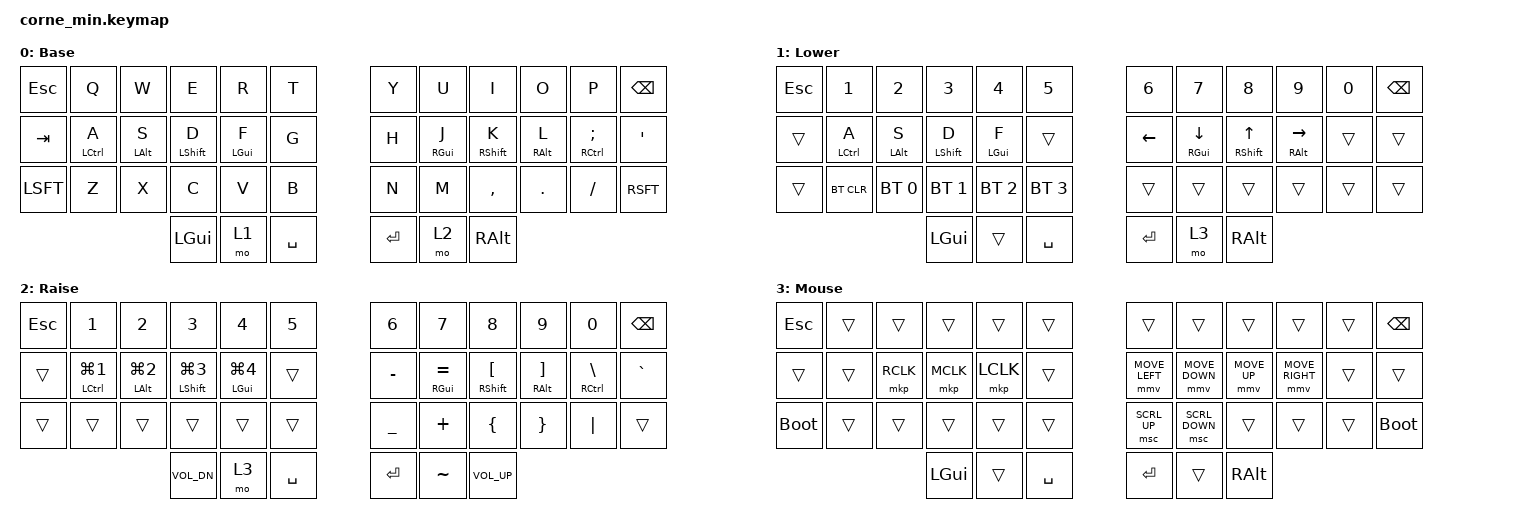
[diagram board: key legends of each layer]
/*
 * Corne Keymap for ZMK
 * 
 * Features:
 * - Homerow mods (Ctrl/Alt/Shift/GUI on ASDF JKL;)
 * - LOWER (left thumb): numbers, BT control, arrows
 * - RAISE (right thumb): numbers, symbols, volume
 */

#include <behaviors.dtsi>
#include <dt-bindings/zmk/keys.h>
#include <dt-bindings/zmk/bt.h>
#include <dt-bindings/zmk/pointing.h>

/ {
    behaviors {
        hm: homerow_mods {
            compatible = "zmk,behavior-hold-tap";
            #binding-cells = <2>;
            tapping-term-ms = <200>;
            quick-tap-ms = <150>;
            flavor = "tap-preferred";
            bindings = <&kp>, <&kp>;
        };
    };

    keymap {
        compatible = "zmk,keymap";

        /* BASE LAYER with Homerow Mods */
        layer0: base {
            display-name = "Base";
            bindings = <
                &kp ESC    &kp Q    &kp W    &kp E    &kp R    &kp T     &kp Y     &kp U     &kp I     &kp O     &kp P     &kp BSPC
                &kp TAB    &hm LCTRL A &hm LALT S &hm LSHFT D &hm LGUI F &kp G  &kp H  &hm RGUI J &hm RSHFT K &hm RALT L &hm RCTRL SEMI &kp SQT
                &kp LSFT   &kp Z    &kp X    &kp C    &kp V    &kp B     &kp N     &kp M     &kp COMMA &kp DOT   &kp SLASH &kp RSFT
                           &kp LGUI &mo 1    &kp SPACE                   &kp RET   &mo 2     &kp RALT
            >;
        };

        /* LOWER LAYER - Numbers, BT, Arrows */
        lower: lower {
            display-name = "Lower";
            bindings = <
                &kp ESC    &kp N1   &kp N2   &kp N3   &kp N4   &kp N5     &kp N6    &kp N7    &kp N8    &kp N9    &kp N0    &kp BSPC
                &trans     &hm LCTRL A &hm LALT S &hm LSHFT D &hm LGUI F &trans   &kp LEFT  &hm RGUI DOWN &hm RSHFT UP &hm RALT RIGHT &trans &trans
                &trans     &bt BT_CLR &bt BT_SEL 0 &bt BT_SEL 1 &bt BT_SEL 2 &bt BT_SEL 3 &trans    &trans    &trans    &trans    &trans    &trans
                           &kp LGUI &trans   &kp SPACE                   &kp RET   &mo 3     &kp RALT
            >;
        };

        /* RAISE LAYER - Numbers, Symbols, Volume */
        raise: raise {
            display-name = "Raise";
            bindings = <
                &kp ESC    &kp N1   &kp N2   &kp N3   &kp N4   &kp N5     &kp N6    &kp N7    &kp N8    &kp N9    &kp N0    &kp BSPC
                &trans     &hm LCTRL LG(N1) &hm LALT LG(N2) &hm LSHFT LG(N3) &hm LGUI LG(N4) &trans   &kp MINUS &hm RGUI EQUAL &hm RSHFT LBKT &hm RALT RBKT &hm RCTRL BSLH &kp GRAVE
                &trans     &trans   &trans   &trans   &trans   &trans     &kp UNDER &kp PLUS  &kp LBRC  &kp RBRC  &kp PIPE  &trans
                           &kp C_VOL_DN &mo 3 &kp SPACE                   &kp RET   &kp TILDE    &kp C_VOL_UP
            >;
        };

        /* MOUSE LAYER - Both thumbs together */
        mouse: mouse {
            display-name = "Mouse";
            bindings = <
                &kp ESC     &trans     &trans     &trans     &trans    &trans         &trans         &trans         &trans       &trans          &trans    &kp BSPC
                &trans      &trans     &mkp RCLK  &mkp MCLK  &mkp LCLK &trans         &mmv MOVE_LEFT &mmv MOVE_DOWN &mmv MOVE_UP &mmv MOVE_RIGHT &trans    &trans
                &bootloader &trans     &trans     &trans     &trans    &trans         &msc SCRL_UP   &msc SCRL_DOWN &trans       &trans          &trans    &bootloader
                            &kp LGUI   &trans     &kp SPACE                           &kp RET      &trans      &kp RALT
            >;
        };
    };
};
